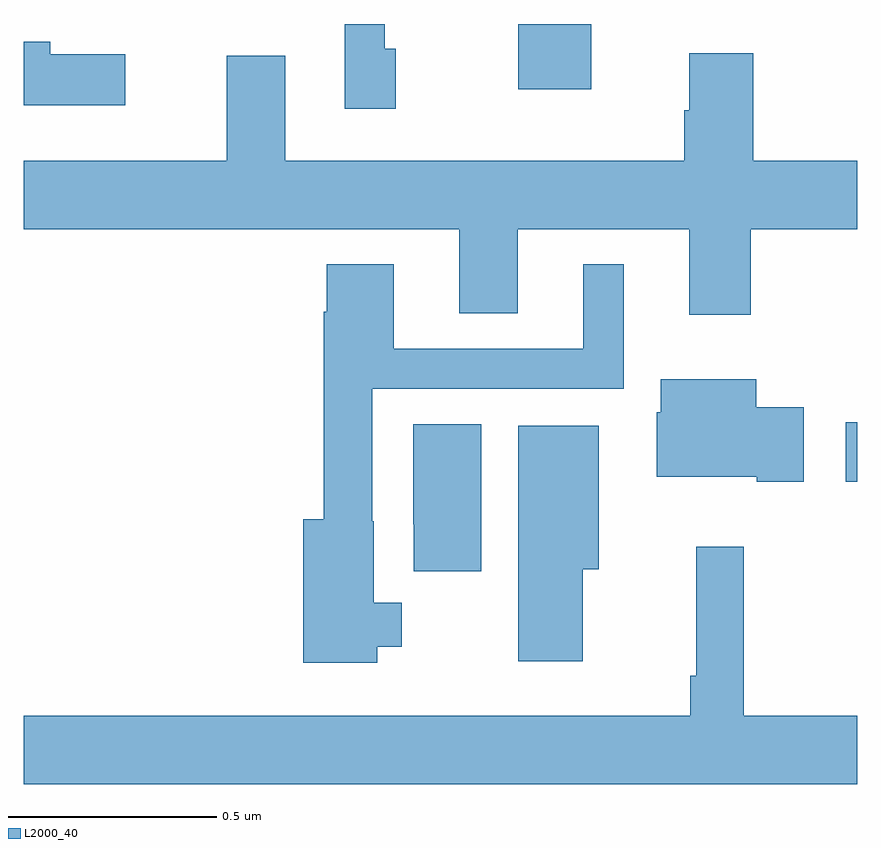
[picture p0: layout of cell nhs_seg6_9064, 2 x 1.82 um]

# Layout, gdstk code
import gdstk
lib = gdstk.Library(unit=1e-6, precision=1e-09)
def R(c, l, rs):  # rectangles x0, y0, x1, y1
    for r in rs: c.add(gdstk.rectangle(r[:2], r[2:], *l))
def P(c, l, *ps):  # polygons
    for p in ps: c.add(gdstk.Polygon(p, *l))
L2000_40 = (2000, 40)

nhs_seg6_9064 = lib.new_cell('nhs_seg6_9064')
R(nhs_seg6_9064, L2000_40, [(230.973,941.402,231,941.544), (230.186,942.344,230.362,942.5)])
P(nhs_seg6_9064, L2000_40, [(229.893,942.441),(229.866,942.441),(229.866,942.5),(229.77,942.5),(229.77,942.297),(229.893,942.297)],
  [(229.243,942.427),(229.063,942.427),(229.063,942.457),(229,942.457),(229,942.305),(229.243,942.305)],
  [(230.745,942.008),(231,942.008),(231,942.172),(230.75,942.172),(230.75,942.43),(230.597,942.43),(230.597,942.293),(230.585,942.293),(230.585,942.172),(229.627,942.172),(229.627,942.424),(229.487,942.424),(229.487,942.172),(229,942.172),(229,942.008),(230.045,942.008),(230.045,941.806),(230.185,941.806),(230.185,942.008),(230.597,942.008),(230.597,941.802),(230.745,941.802)],
  [(229.848,941.006),(229.907,941.006),(229.907,941.111),(229.84,941.111),(229.84,941.307),(229.836,941.307),(229.836,941.625),(230.44,941.625),(230.44,941.923),(230.342,941.923),(230.342,941.721),(229.888,941.721),(229.888,941.923),(229.727,941.923),(229.727,941.81),(229.72,941.81),(229.72,941.311),(229.67,941.311),(229.67,940.967),(229.848,940.967)],
  [(230.872,941.58),(230.758,941.58),(230.758,941.647),(230.528,941.647),(230.528,941.568),(230.519,941.568),(230.519,941.414),(230.759,941.414),(230.759,941.402),(230.872,941.402)],
  [(230.098,941.54),(229.934,941.54),(229.934,941.299),(229.936,941.299),(229.936,941.187),(230.098,941.187)],
  [(230.341,941.192),(230.38,941.192),(230.38,941.536),(230.186,941.536),(230.186,940.971),(230.341,940.971)],
  [(231,940.84),(230.728,940.84),(230.728,941.245),(230.614,941.245),(230.614,940.936),(230.599,940.936),(230.599,940.84),(229,940.84),(229,940.676),(231,940.676)])

lib.write_gds('nhs_seg6_9064.gds')
